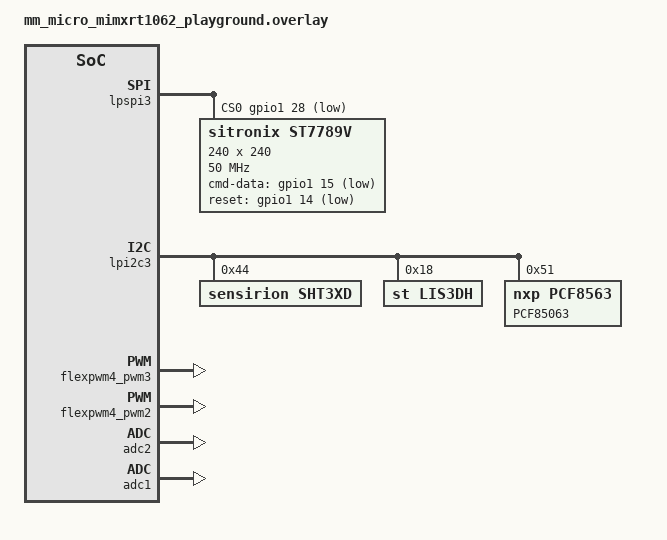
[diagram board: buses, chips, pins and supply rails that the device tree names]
/ {
	chosen {
		zephyr,flash = &sdram0;
		zephyr,console = &lpuart2;
		zephyr,shell-uart = &lpuart2;
	};

};

&lpspi3 {
	status = "okay";
	pcs-sck-delay = <1>;
	sck-pcs-delay = <1>;
	transfer-delay = <1>;
	cs-gpios = <&gpio1 28 GPIO_ACTIVE_LOW>;		/*P5*/

	/* Sitronix ST7789V LCD */
	st7789v: st7789v@0 {
		compatible = "sitronix,st7789v";
		reg = <0>;
		spi-max-frequency = <50000000>; /* 8MHz */
		label = "ST7789V";
		cmd-data-gpios = <&gpio1 15 GPIO_ACTIVE_LOW>;		/*P13*/
		reset-gpios = <&gpio1 14 GPIO_ACTIVE_LOW>;			/*P12*/
		width = <240>;
		height = <240>;
		x-offset = <0>;
		y-offset = <0>;
		vcom = <0x19>;
		gctrl = <0x35>;
		vrhs = <0x12>;
		vdvs = <0x20>;
		mdac = <0x00>;
		gamma = <0x01>;
		colmod = <0x05>;
		lcm = <0x2c>;
		porch-param = [0c 0c 00 33 33];
		cmd2en-param = [5a 69 02 01];
		pwctrl1-param = [a4 a1];
		pvgam-param = [D0 04 0D 11 13 2B 3F 54 4C 18 0D 0B 1F 23];
		nvgam-param = [D0 04 0C 11 13 2C 3F 44 51 2F 1F 1F 20 23];
		ram-param = [00 F0];
		rgb-param = [CD 08 14];
	};
};

&lpi2c3 {
	sht3xd@44 {
		compatible = "sensirion,sht3xd";
		reg = <0x44>;
		label = "SHT3XD";
		status = "okay";
	};

	lis3dh@18 {
		compatible = "st,lis3dh", "st,lis2dh";
		reg = <0x18>;
		label = "LIS3DH";
		status = "okay";
	};

	pfc8563_rtc: pfc8563@51 {
		compatible = "nxp,pcf8563";
		reg = <0x51>;
		label = "PCF85063";
		status = "okay";
	};
};

&flexpwm4_pwm3 {
	status = "okay";
	pinctrl-0 = <&pinmux_flexpwm_ch6>;
	pinctrl-names = "default";
	nxp,prescaler = <64>;
};

&flexpwm4_pwm2 {
	status = "okay";
	pinctrl-0 = <&pinmux_flexpwm_ch7>;
	pinctrl-names = "default";
	nxp,prescaler = <64>;
};

&adc2{
	status = "okay";
	pinctrl-0 = <&pinmux_adc2_9>;
	pinctrl-names = "default";
}

&adc1{
	status = "okay";
	pinctrl-0 = <&pinmux_adc1_10>;
	pinctrl-names = "default";
}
